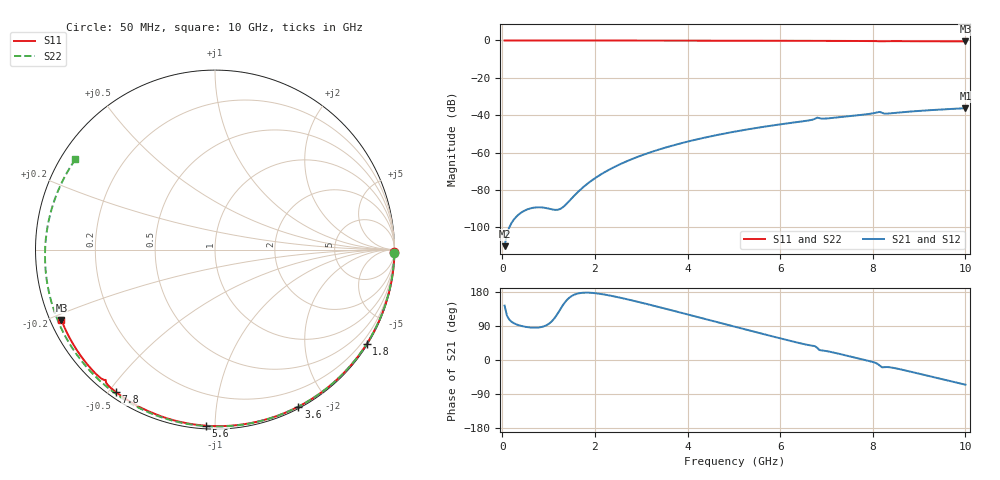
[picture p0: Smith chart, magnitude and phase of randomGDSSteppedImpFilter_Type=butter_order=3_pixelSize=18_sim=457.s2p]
! freq	dB(S11)	phase(S11)	dB(S12)	phase(S12)
!  dB(S21)	phase(S21)	dB(S22)	phase(S22)
!S-par simulation data
#  GHz  S  DB  R 50
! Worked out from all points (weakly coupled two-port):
!   200 points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, 50 MHz to 10 GHz, reference 50 ohm
!   highest |S21| = -36.26 dB at 10 GHz (marker M1); lowest = -110.0 dB at 50 MHz (marker M2)
!   lowest |S11| = -0.5 dB at 10 GHz (marker M3), VSWR 33.15, Z = 1.58 - j10.9 ohm
!   |S11| at or under -10 dB: nowhere
!   |S22| runs from -0.7 to 0.0 dB; largest |S21 - S12| = 0
!   S11 on the Smith chart (normalised r, x): 50 MHz: open; 1.8 GHz: 0.03, -3.50; 3.6 GHz: 0.02, -1.66; 5.6 GHz: 0.02, -0.95; 7.8 GHz: 0.02, -0.52; 10 GHz: 0.03, -0.22
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0.05  -0.00 -0.9  -110.04 143.6  -110.04 143.6  -0.00 -1.2
0.8  -0.01 -14.3  -89.24 86.1  -89.24 86.1  -0.02 -18.1
1.65  -0.04 -29.3  -80.67 175.9  -80.67 175.9  -0.05 -37.0
1.75  -0.04 -31.0  -78.43 177.5  -78.43 177.5  -0.05 -39.1
1.8  -0.04 -31.9  -77.40 177.8  -77.40 177.8  -0.05 -40.2
2.1  -0.05 -37.0  -72.10 174.8  -72.10 174.8  -0.06 -46.7
2.45  -0.06 -43.0  -67.31 166.9  -67.31 166.9  -0.07 -54.2
2.9  -0.07 -50.5  -62.48 154.4  -62.48 154.4  -0.08 -63.7
3.4  -0.08 -58.8  -58.22 139.2  -58.22 139.2  -0.10 -74.1
3.6  -0.08 -62.0  -56.75 133.0  -56.75 133.0  -0.11 -78.2
4.3  -0.10 -73.2  -52.36 110.8  -52.36 110.8  -0.13 -92.2
5.05  -0.13 -84.8  -48.63 87.0  -48.63 87.0  -0.17 -107.0
5.6  -0.15 -93.0  -46.35 69.6  -46.35 69.6  -0.20 -117.7
6.7  -0.22 -109.1  -42.39 37.6  -42.39 37.6  -0.28 -139.1
6.8  -0.23 -110.5  -41.28 32.2  -41.28 32.2  -0.29 -141.1
6.95  -0.23 -112.6  -41.83 24.5  -41.83 24.5  -0.29 -144.0
7.8  -0.29 -124.7  -39.67 0.8  -39.67 0.8  -0.38 -161.3
8.15  -0.45 -129.9  -38.24 -14.8  -38.24 -14.8  -0.41 -168.7
8.25  -0.42 -130.4  -39.15 -19.1  -39.15 -19.1  -0.43 -170.9
8.35  -0.37 -131.9  -39.04 -18.9  -39.04 -18.9  -0.44 -173.0
9.2  -0.43 -144.0  -37.35 -42.0  -37.35 -42.0  -0.55 167.5
10  -0.52 -155.4  -36.26 -65.1  -36.26 -65.1  -0.67 147.1
